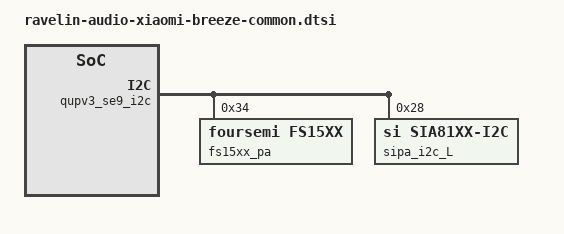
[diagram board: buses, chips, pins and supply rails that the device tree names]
// SPDX-License-Identifier: BSD-3-Clause
/*
 * Xiaomi Breeze audio, based on ravelin-audio-qrd.dtsi.
 */

#include "ravelin-audio-qrd.dtsi"

&lpass_cdc {
	qcom,num-macros = <3>;
};

&wsa_macro {
	status = "disabled";
};

&wsa2_macro {
	status = "disabled";
};

&wcd937x_codec {
	qcom,cdc-micbias2-mv = <2700>;
};

&waipio_snd {
	qcom,wsa-max-devs = <0>;
	qcom,audio-routing =
		"AMIC1", "Analog Mic1",
		"AMIC1", "MIC BIAS1",
		"AMIC2", "Analog Mic2",
		"AMIC2", "MIC BIAS2",
		"AMIC3", "Analog Mic3",
		"AMIC3", "MIC BIAS3",
		"TX DMIC0", "Digital Mic0",
		"TX DMIC0", "MIC BIAS3",
		"TX DMIC1", "Digital Mic1",
		"TX DMIC1", "MIC BIAS3",
		"TX DMIC2", "Digital Mic2",
		"TX DMIC2", "MIC BIAS1",
		"TX DMIC3", "Digital Mic3",
		"TX DMIC3", "MIC BIAS1",
		"IN1_HPHL", "HPHL_OUT",
		"IN2_HPHR", "HPHR_OUT",
		"IN3_AUX", "AUX_OUT",
		"RX_TX DEC0_INP", "TX DEC0 MUX",
		"RX_TX DEC1_INP", "TX DEC1 MUX",
		"RX_TX DEC2_INP", "TX DEC2 MUX",
		"RX_TX DEC3_INP", "TX DEC3 MUX",
		"TX SWR_INPUT", "WCD_TX_OUTPUT",
		"VA SWR_INPUT", "VA_SWR_CLK",
		"VA SWR_INPUT", "WCD_TX_OUTPUT",
		"VA_AIF1 CAP", "VA_SWR_CLK",
		"VA_AIF2 CAP", "VA_SWR_CLK",
		"VA_AIF3 CAP", "VA_SWR_CLK";
	si,sia81xx-max-num = <1>;
	si,sia81xx-aux-devs = <&si_pa_L>;
	si,sia81xx-aux-devs-prefix = "SpkrMonoL";
};

&soc {
	si_pa_L: si_pa_L {
		compatible = "si,sia81xx";
		si,si_pa_type = "sia8152x";
		si,si_pa_disable_pin = <1>;
		channel_num = <0>;
	};
};

/* The speaker amp is either an FS1599 or an SIA8152 */
&qupv3_se9_i2c {
	status = "okay";
	#address-cells = <1>;
	#size-cells = <0>;

	fs15xx_pa@34 {
		compatible = "foursemi,fs15xx";
		reg = <0x34>;
		status = "okay";
	};

	sipa_i2c_L@28 {
		compatible = "si,sia81xx-i2c";
		reg = <0x28>;
		si,sipa-dev = <&si_pa_L>;
		status = "okay";
	};
};
